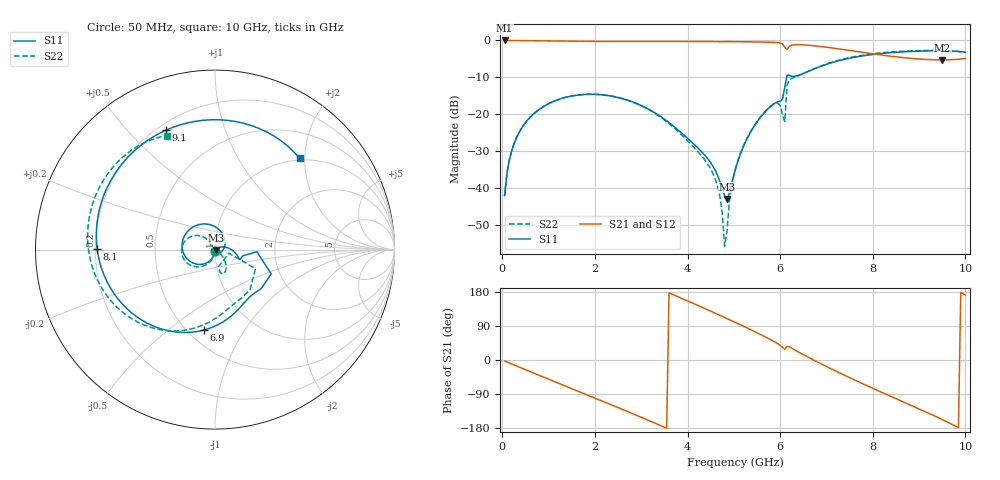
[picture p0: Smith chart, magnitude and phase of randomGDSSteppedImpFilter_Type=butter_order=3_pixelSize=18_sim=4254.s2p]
! freq	dB(S11)	phase(S11)	dB(S12)	phase(S12)
!  dB(S21)	phase(S21)	dB(S22)	phase(S22)
!S-par simulation data
#  GHz  S  DB  R 50
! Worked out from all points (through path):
!   200 points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, 50 MHz to 10 GHz, reference 50 ohm
!   highest |S21| = 0.00 dB at 50 MHz (marker M1); lowest = -5.3 dB at 9.5 GHz (marker M2)
!   group delay of S21, straight-line fit = 153 ps
!   lowest |S11| = -42.9 dB at 4.85 GHz (marker M3), VSWR 1.01, Z = 50.7 - j0.239 ohm
!   |S11| at or under -10 dB: start of sweep to 6.14 GHz
!   |S22| runs from -55.7 to -2.7 dB; largest |S21 - S12| = 0
!   S11 on the Smith chart (normalised r, x): 50 MHz: 1.00, -0.02; 6.9 GHz: 0.60, -0.68; 8.1 GHz: 0.21, +0.00; 9.1 GHz: 0.23, +0.64; 10 GHz: 0.97, +1.89
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0.05  -41.98 -92.4  -0.00 -2.6  -0.00 -2.6  -41.97 -91.9
0.2  -29.98 -101.2  -0.02 -10.3  -0.02 -10.3  -29.97 -99.3
0.5  -22.26 -118.2  -0.06 -25.5  -0.06 -25.5  -22.26 -113.4
1.75  -14.64 171.4  -0.25 -88.0  -0.25 -88.0  -14.64 -169.1
2.5  -15.43 126.6  -0.27 -125.6  -0.27 -125.6  -15.45 160.5
3.4  -20.43 62.2  -0.25 -172.1  -0.25 -172.1  -20.60 132.2
4.5  -33.08 -52.5  -0.31 128.9  -0.31 128.9  -34.80 139.7
4.7  -38.19 -59.5  -0.32 117.9  -0.32 117.9  -42.30 138.7
4.8  -42.02 -41.6  -0.33 112.3  -0.33 112.3  -55.67 99.6
4.85  -42.90 -19.2  -0.33 109.5  -0.33 109.5  -51.92 -12.2
4.9  -41.59 4.2  -0.33 106.7  -0.33 106.7  -43.99 -26.3
5.05  -34.19 27.3  -0.35 98.2  -0.35 98.2  -34.03 -33.5
5.75  -18.35 -11.8  -0.47 56.6  -0.47 56.6  -18.29 -59.5
6.1  -12.62 -2.9  -1.86 28.9  -1.86 28.9  -21.97 -14.4
6.15  -9.34 -23.4  -2.42 35.5  -2.42 35.5  -12.08 -25.2
6.7  -7.86 -83.4  -1.40 1.3  -1.40 1.3  -7.81 -95.0
6.9  -6.90 -97.8  -1.68 -11.1  -1.68 -11.1  -6.80 -105.8
8.1  -3.66 179.8  -3.80 -80.1  -3.80 -80.1  -3.46 -163.2
8.35  -3.36 163.1  -4.21 -93.7  -4.21 -93.7  -3.17 -174.0
9.1  -2.86 112.4  -5.11 -134.4  -5.11 -134.4  -2.73 154.3
9.5  -2.81 84.5  -5.27 -157.0  -5.27 -157.0  -2.75 136.9
10  -3.18 47.1  -4.88 171.4  -4.88 171.4  -3.23 113.0
